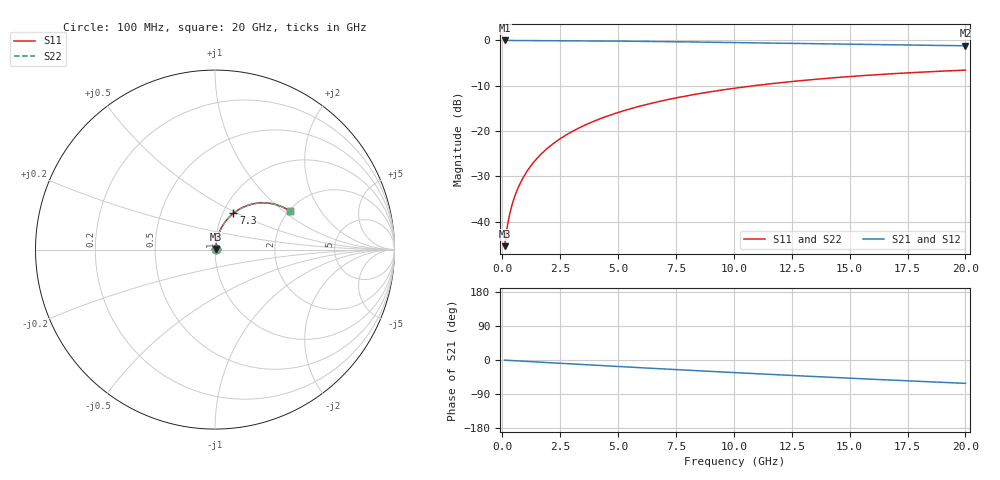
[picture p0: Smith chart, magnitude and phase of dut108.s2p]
! Touchstone file exported from HFSS 2026.1.0
!  File:  C:/ffzhzh/LocalFiles/Ansys_Project_Files/temp_train_BSMRDL_108_1782985799_45328.aedt
!  Generated:  05:51:28 PM Jul  2, 2026
!  Design:  BSMRDL
!  Project:  temp_train_BSMRDL_108_1782985799_45328
! Variables:
!  h_bsmrdl = 3.19um
!  h_ox = 20um
!  h_rdl = 5um
!  h_sub = 80um
!  h_tmrdl = 5um
!  h_tsv = 80um
!  h_via = 3um
!  l_bsmrdl = 972.33um
!  l_sub = 1372.33um
!  l_tmrdl = 200um
!  m_sub = 200um
!  pitch = 58.6um
!  r_tsv = 6um
!  s_tmrdl = 10um
!  w_bsmrdl = 29.78um
!  w_sub = 500um
!  w_tmrdl = 12um
!  x_tsv_center1 = 206um
!  x_tsv_center2 = 1208.11um
!  x_tsv_center3 = 1420.11um
!  x_tsv_center4 = 2422.22um
!  x_tsv_center5 = 2634.22um
!  x_tsv_center6 = 3636.33um
# GHz S MA R 50.000000
! Terminal data exported
! Port[1] = BSM_RDL1_1_T1
! Port[2] = BSM_RDL1_1_T2
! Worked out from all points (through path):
!   200 points, 100 MHz to 20 GHz, reference 50 ohm
!   highest |S21| = -0.03 dB at 100 MHz (marker M1); lowest = -1.2 dB at 20 GHz (marker M2)
!   group delay of S21, straight-line fit = 8.56 ps
!   lowest |S11| = -45.4 dB at 100 MHz (marker M3), VSWR 1.01, Z = 50.4 + j0.373 ohm
!   |S11| at or under -10 dB: start of sweep to 10.88 GHz
!   |S22| runs from -45.4 to -6.6 dB; largest |S21 - S12| = 3.6e-15
!   S11 on the Smith chart (normalised r, x): 100 MHz: 1.01, +0.01; 7.3 GHz: 1.12, +0.48; 20 GHz: 2.03, +1.11
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0.1  0.005395 43.3  0.9961 -0.4  0.9961 -0.4  0.005395 43.3
! Gamma 0 0 0 0
! Port Impedance 50 0 50 0
0.2  0.008396 59.4  0.9958 -0.7  0.9958 -0.7  0.008396 59.4
0.3  0.01157 66.3  0.9955 -1.1  0.9955 -1.1  0.01157 66.3
0.4  0.01474 70.1  0.9952 -1.4  0.9952 -1.4  0.01474 70.1
0.5  0.0179 72.5  0.995 -1.8  0.995 -1.8  0.0179 72.5
0.6  0.02107 74.2  0.9948 -2.1  0.9948 -2.1  0.02107 74.2
0.8  0.02745 76.4  0.9945 -2.8  0.9945 -2.8  0.02745 76.4
1.1  0.03711 78.0  0.994 -3.8  0.994 -3.8  0.03711 78.0
1.3  0.04357 78.4  0.9937 -4.5  0.9937 -4.5  0.04357 78.4
1.6  0.05329 78.5  0.9931 -5.6  0.9931 -5.6  0.05329 78.5
2.1  0.06946 78.0  0.9919 -7.3  0.9919 -7.3  0.06946 78.0
2.7  0.08875 76.8  0.9901 -9.3  0.9901 -9.3  0.08875 76.8
3.5  0.1141 74.7  0.9871 -12.1  0.9871 -12.1  0.1141 74.7
4.2  0.1359 72.7  0.9839 -14.4  0.9839 -14.4  0.1359 72.7
5  0.1603 70.3  0.9798 -17.1  0.9798 -17.1  0.1603 70.3
6.8  0.2125 64.7  0.9687 -23.1  0.9687 -23.1  0.2125 64.7
7.3  0.2264 63.1  0.9652 -24.7  0.9652 -24.7  0.2264 63.1
8.6  0.261 59.1  0.9558 -28.8  0.9558 -28.8  0.261 59.1
10.1  0.2981 54.5  0.9442 -33.5  0.9442 -33.5  0.2981 54.5
13.4  0.3693 44.9  0.9179 -43.4  0.9179 -43.4  0.3693 44.9
16.7  0.4261 35.7  0.8927 -52.8  0.8927 -52.8  0.4261 35.7
20  0.4692 27.0  0.871 -61.6  0.871 -61.6  0.4691 27.0
